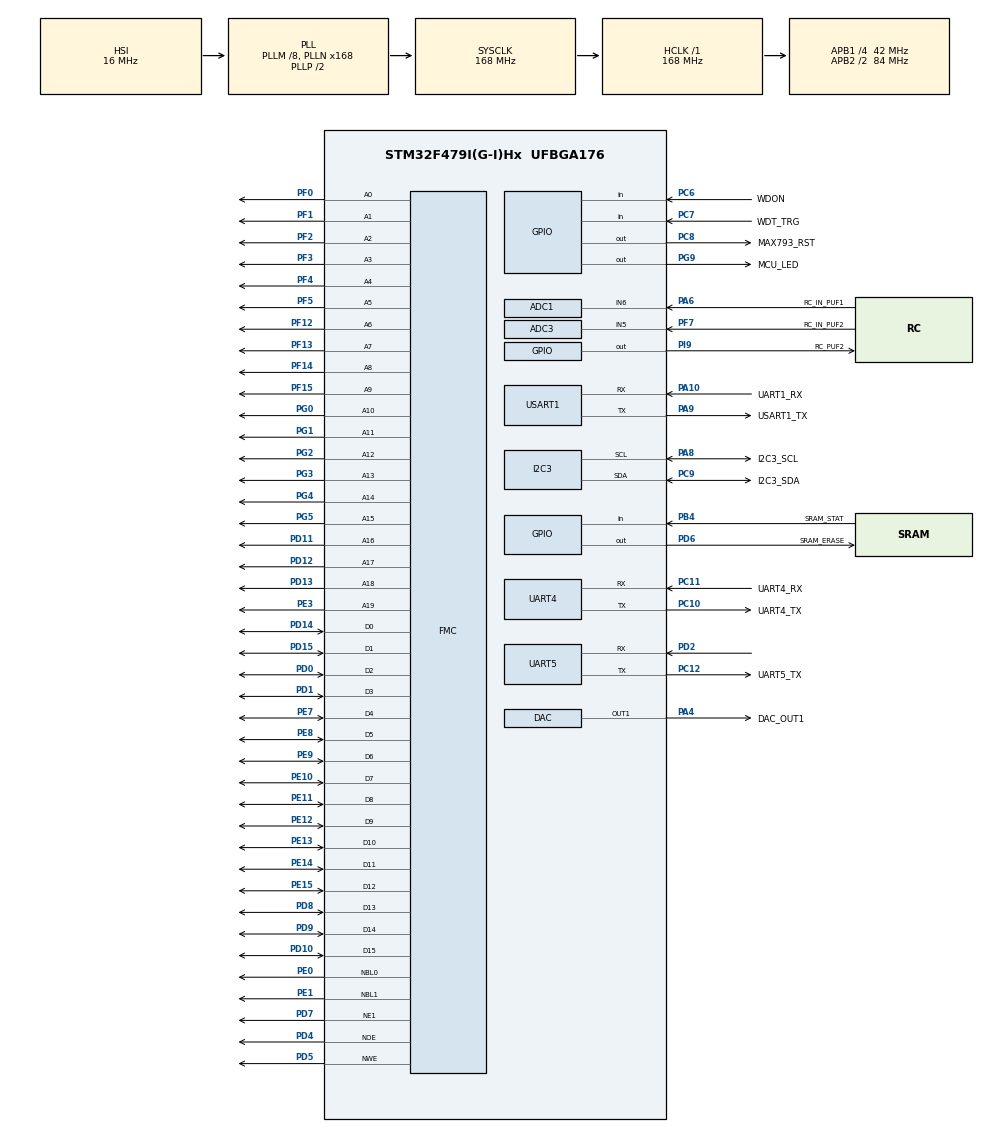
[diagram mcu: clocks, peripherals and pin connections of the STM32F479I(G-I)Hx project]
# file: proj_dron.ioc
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ADC1.Channel-0\#ChannelRegularConversion=ADC_CHANNEL_6
ADC1.Channel-1\#ChannelInjectedConversion=ADC_CHANNEL_6
ADC1.ClockPrescaler=ADC_CLOCK_SYNC_PCLK_DIV4
ADC1.InjNumberOfConversion=1
ADC1.InjectedOffset-1\#ChannelInjectedConversion=0
ADC1.InjectedRank-1\#ChannelInjectedConversion=1
ADC1.NbrOfConversionFlag=1
ADC1.Rank-0\#ChannelRegularConversion=1
ADC1.SamplingTime-0\#ChannelRegularConversion=ADC_SAMPLETIME_3CYCLES
ADC1.SamplingTime-1\#ChannelInjectedConversion=ADC_SAMPLETIME_480CYCLES
ADC1.master=1
ADC3.Channel-0\#ChannelRegularConversion=ADC_CHANNEL_5
ADC3.Channel-1\#ChannelInjectedConversion=ADC_CHANNEL_5
ADC3.ClockPrescaler=ADC_CLOCK_SYNC_PCLK_DIV4
ADC3.InjNumberOfConversion=1
ADC3.InjectedOffset-1\#ChannelInjectedConversion=0
ADC3.InjectedRank-1\#ChannelInjectedConversion=1
ADC3.NbrOfConversionFlag=1
ADC3.Rank-0\#ChannelRegularConversion=1
ADC3.SamplingTime-0\#ChannelRegularConversion=ADC_SAMPLETIME_3CYCLES
ADC3.SamplingTime-1\#ChannelInjectedConversion=ADC_SAMPLETIME_480CYCLES
DAC.DAC_OutputBuffer=DAC_OUTPUTBUFFER_DISABLE
FMC.WriteOperation1=FMC_WRITE_OPERATION_ENABLE
Mcu.Family=STM32F4
Mcu.Name=STM32F479I(G-I)Hx
Mcu.Package=UFBGA176
NVIC.ADC_IRQn=true\:0\:0\:false\:false\:true\:true\:true\:true
NVIC.PriorityGroup=NVIC_PRIORITYGROUP_4
NVIC.UART4_IRQn=true\:0\:0\:false\:false\:true\:true\:true\:true
NVIC.UART5_IRQn=true\:0\:0\:false\:false\:true\:true\:true\:true
NVIC.USART1_IRQn=true\:0\:0\:false\:false\:true\:true\:true\:true
PA10.GPIO_Label=UART1_RX
PA10.Mode=Asynchronous
PA10.Signal=USART1_RX
PA13.Mode=Trace_Asynchronous_SW
PA13.Signal=SYS_JTMS-SWDIO
PA14.Mode=Trace_Asynchronous_SW
PA14.Signal=SYS_JTCK-SWCLK
PA4.GPIO_Label=DAC_OUT1
PA4.Signal=COMP_DAC1_group
PA6.GPIO_Label=RC_IN_PUF1
PA6.Signal=ADCx_IN6
PA8.GPIO_Label=I2C3_SCL
PA8.GPIO_Pu=GPIO_PULLUP
PA8.GPIO_Speed=GPIO_SPEED_FREQ_LOW
PA8.Mode=I2C
PA8.Signal=I2C3_SCL
PA9.GPIO_Label=USART1_TX
PA9.Mode=Asynchronous
PA9.Signal=USART1_TX
PB3.Mode=Trace_Asynchronous_SW
PB3.Signal=SYS_JTDO-SWO
PB4.GPIO_Label=SRAM_STAT
PB4.Signal=GPIO_Input
PC10.GPIO_Label=UART4_TX
PC10.Mode=Asynchronous
PC10.Signal=UART4_TX
PC11.GPIO_Label=UART4_RX
PC11.Mode=Asynchronous
PC11.Signal=UART4_RX
PC12.GPIO_Label=UART5_TX
PC12.Mode=Asynchronous
PC12.Signal=UART5_TX
PC6.GPIO_Label=WDON
PC6.Signal=GPIO_Input
PC7.GPIO_Label=WDT_TRG
PC7.Signal=GPIO_Input
PC8.GPIO_Label=MAX793_RST
PC8.Signal=GPIO_Output
PC9.GPIO_Label=I2C3_SDA
PC9.GPIO_Pu=GPIO_PULLUP
PC9.GPIO_Speed=GPIO_SPEED_FREQ_LOW
PC9.Mode=I2C
PC9.Signal=I2C3_SDA
PD0.Signal=FMC_D2_DA2
PD1.Signal=FMC_D3_DA3
PD10.Signal=FMC_D15_DA15
PD11.Signal=FMC_A16_CLE
PD12.Signal=FMC_A17_ALE
PD13.Signal=FMC_A18
PD14.Signal=FMC_D0_DA0
PD15.Signal=FMC_D1_DA1
PD2.Mode=Asynchronous
PD2.Signal=UART5_RX
PD4.GPIO_PuPd=GPIO_PULLUP
PD4.Signal=FMC_NOE
PD5.GPIO_PuPd=GPIO_PULLUP
PD5.Signal=FMC_NWE
PD6.GPIO_Label=SRAM_ERASE
PD6.GPIO_PuPd=GPIO_PULLUP
PD6.GPIO_Speed=GPIO_SPEED_FREQ_VERY_HIGH
PD6.PinState=GPIO_PIN_SET
PD6.Signal=GPIO_Output
PD7.GPIO_PuPd=GPIO_PULLUP
PD7.Mode=NorPsramChipSelect1_1
PD7.Signal=FMC_NE1
PD8.Signal=FMC_D13_DA13
PD9.Signal=FMC_D14_DA14
PE0.GPIO_PuPd=GPIO_PULLDOWN
PE0.Signal=FMC_NBL0
PE1.GPIO_PuPd=GPIO_PULLUP
PE1.Signal=FMC_NBL1
PE10.Signal=FMC_D7_DA7
PE11.Signal=FMC_D8_DA8
PE12.Signal=FMC_D9_DA9
PE13.Signal=FMC_D10_DA10
PE14.Signal=FMC_D11_DA11
PE15.Signal=FMC_D12_DA12
PE3.Signal=FMC_A19
PE7.Signal=FMC_D4_DA4
PE8.Signal=FMC_D5_DA5
PE9.Signal=FMC_D6_DA6
PF0.Signal=FMC_A0
PF1.Signal=FMC_A1
PF12.Signal=FMC_A6
PF13.Signal=FMC_A7
PF14.Signal=FMC_A8
PF15.Signal=FMC_A9
PF2.Signal=FMC_A2
PF3.Signal=FMC_A3
PF4.Signal=FMC_A4
PF5.Signal=FMC_A5
PF7.GPIO_Label=RC_IN_PUF2
PF7.Mode=IN5
PF7.Signal=ADC3_IN5
PG0.Signal=FMC_A10
PG1.Signal=FMC_A11
PG2.Signal=FMC_A12
PG3.Signal=FMC_A13
PG4.Signal=FMC_A14_BA0
PG5.Signal=FMC_A15_BA1
PG9.GPIO_Label=MCU_LED
PG9.Signal=GPIO_Output
PI9.GPIO_Label=RC_PUF2
PI9.Signal=GPIO_Output
ProjectManager.HeapSize=0x200
ProjectManager.StackSize=0x400
ProjectManager.TargetToolchain=STM32CubeIDE
RCC.AHBFreq_Value=168000000
RCC.APB1CLKDivider=RCC_HCLK_DIV4
RCC.APB1Freq_Value=42000000
RCC.APB1TimFreq_Value=84000000
RCC.APB2CLKDivider=RCC_HCLK_DIV2
RCC.APB2Freq_Value=84000000
RCC.APB2TimFreq_Value=168000000
RCC.CortexFreq_Value=168000000
RCC.HCLKFreq_Value=168000000
RCC.PLLM=8
RCC.PLLN=168
RCC.SYSCLKFreq_VALUE=168000000
RCC.SYSCLKSource=RCC_SYSCLKSOURCE_PLLCLK
RCC.USBFreq_Value=84000000
RCC.VCOOutputFreq_Value=336000000
SH.ADCx_IN6.0=ADC1_IN6,IN6
SH.COMP_DAC1_group.0=DAC_OUT1,DAC_OUT1
SH.FMC_A0.0=FMC_A0,20b-a1
SH.FMC_A1.0=FMC_A1,20b-a1
SH.FMC_A10.0=FMC_A10,20b-a1
SH.FMC_A11.0=FMC_A11,20b-a1
SH.FMC_A12.0=FMC_A12,20b-a1
SH.FMC_A13.0=FMC_A13,20b-a1
SH.FMC_A14_BA0.0=FMC_A14,20b-a1
SH.FMC_A15_BA1.0=FMC_A15,20b-a1
SH.FMC_A16_CLE.0=FMC_A16,20b-a1
SH.FMC_A17_ALE.0=FMC_A17,20b-a1
SH.FMC_A18.0=FMC_A18,20b-a1
SH.FMC_A19.0=FMC_A19,20b-a1
SH.FMC_A2.0=FMC_A2,20b-a1
SH.FMC_A3.0=FMC_A3,20b-a1
SH.FMC_A4.0=FMC_A4,20b-a1
SH.FMC_A5.0=FMC_A5,20b-a1
SH.FMC_A6.0=FMC_A6,20b-a1
SH.FMC_A7.0=FMC_A7,20b-a1
SH.FMC_A8.0=FMC_A8,20b-a1
SH.FMC_A9.0=FMC_A9,20b-a1
SH.FMC_D0_DA0.0=FMC_D0,16b-d1
SH.FMC_D10_DA10.0=FMC_D10,16b-d1
SH.FMC_D11_DA11.0=FMC_D11,16b-d1
SH.FMC_D12_DA12.0=FMC_D12,16b-d1
SH.FMC_D13_DA13.0=FMC_D13,16b-d1
SH.FMC_D14_DA14.0=FMC_D14,16b-d1
SH.FMC_D15_DA15.0=FMC_D15,16b-d1
SH.FMC_D1_DA1.0=FMC_D1,16b-d1
SH.FMC_D2_DA2.0=FMC_D2,16b-d1
SH.FMC_D3_DA3.0=FMC_D3,16b-d1
SH.FMC_D4_DA4.0=FMC_D4,16b-d1
SH.FMC_D5_DA5.0=FMC_D5,16b-d1
SH.FMC_D6_DA6.0=FMC_D6,16b-d1
SH.FMC_D7_DA7.0=FMC_D7,16b-d1
SH.FMC_D8_DA8.0=FMC_D8,16b-d1
SH.FMC_D9_DA9.0=FMC_D9,16b-d1
SH.FMC_NBL0.0=FMC_NBL0,2ByteEnable1
SH.FMC_NBL1.0=FMC_NBL1,2ByteEnable1
SH.FMC_NOE.0=FMC_NOE,Sram1
SH.FMC_NWE.0=FMC_NWE,Sram1
UART4.VirtualMode=Asynchronous
UART5.VirtualMode=Asynchronous
USART1.VirtualMode=VM_ASYNC
board=custom

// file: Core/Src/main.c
/* USER CODE BEGIN Header */
/**
  ******************************************************************************
  * @file           : main.c
  * @brief          : Main program body
  ******************************************************************************
  * @attention
  *
  * Copyright (c) 2024 STMicroelectronics.
  * All rights reserved.
  *
  * This software is licensed under terms that can be found in the LICENSE file
  * in the root directory of this software component.
  * If no LICENSE file comes with this software, it is provided AS-IS.
  *
  ******************************************************************************
  */
/* USER CODE END Header */
#include "main.h"
#include "adc.h"
#include "dac.h"
#include "i2c.h"
#include "usart.h"
#include "gpio.h"
#include "fmc.h"

/* USER CODE BEGIN Includes */
#include "INA219.h"
#include <stdarg.h>
#include <stdio.h>
#include <string.h>
#include <stdlib.h>

/* USER CODE END Includes */

/* USER CODE BEGIN PD */
#define SRAM_DEVICE_ADDR ((uint32_t) 0x60000000)
#define UART_BUF_SIZE 8
#define BUFFER_SIZE 256
#define TAMPER_FORCE 0
/* USER CODE END PD */

/* USER CODE BEGIN PV */
INA219_t ina219;

uint8_t pinstat;
uint16_t buff_read[256];
uint8_t uart_buf1[UART_BUF_SIZE];	//uart1 receive buf
uint8_t uart_buf4[UART_BUF_SIZE];	//uart4 receive buf
uint8_t uart_buf5[UART_BUF_SIZE];	//uart5 receive buf
uint8_t comp_flas;
uint8_t print;
uint8_t pw_input;

Cmd_buf cmd_buf;

char * cmd_read = "read";
char * cmd_write = "write";
char * cmd_write_rand = "write_rand";
char * cmd_cmp = "compare";
char * cmd_write_rand_comp = "write_rand_comp";
char * cmd_cmp_rand = "compare_rand";
char * cmd_print = "print";

char * cmd_sram_help = "sram_help";
char * cmd_help = "help";
char * cmd_exit = "exit";

char * cmd_i2c = "i2c_test";
char * cmd_adc = "adc_test";
char * cmd_gpio = "sram_stat";

char * user_id = "root";
char * user_pw = "root";

uint16_t buff_write[32] = {0,1,2,3,4,5,6,7,8,9,10,11,12,13,14,15};
uint16_t buff_rand_comp[10000];

/* USER CODE END PV */

void SystemClock_Config(void);
/* USER CODE BEGIN PFP */
#if 0
int __io_putchar(uint8_t ch){
	HAL_UART_Transmit(&huart4, &ch, 1, 1000);
    return ch;
}
#endif
void id_pw(void);
/* USER CODE END PFP */

/* USER CODE BEGIN 0 */
uint32_t adc1_value;
uint32_t adc3_value;

void dprintf1(const char* format, ...)
{
	char buf[128] = {0x00, };
	int len = 0;

	va_list ap;

	va_start(ap, format);
	len = vsnprintf(buf, sizeof(buf), format, ap);
	va_end(ap);
	HAL_UART_Transmit(&huart1, (uint8_t*)buf, len, 1000);
}

void dprintf4(const char* format, ...)
{
	char buf[128] = {0x00, };
	int len = 0;

	va_list ap;

	va_start(ap, format);
	len = vsnprintf(buf, sizeof(buf), format, ap);
	va_end(ap);
	HAL_UART_Transmit(&huart4, (uint8_t*)buf, len, 1000);
}

void dprintf5(const char* format, ...)
{
	char buf[128] = {0x00, };
	int len = 0;

	va_list ap;

	va_start(ap, format);
	len = vsnprintf(buf, sizeof(buf), format, ap);
	va_end(ap);
	HAL_UART_Transmit(&huart5, (uint8_t*)buf, len, 1000);
}

void INA219_proc(void)
{
	uint16_t vbus, vshunt, current;

	vbus = INA219_ReadBusVoltage(&ina219);
	vshunt = INA219_ReadShuntVolage(&ina219);
	current = INA219_ReadCurrent(&ina219);
	dprintf4("vbus:%d\r\nvshunt:%d\r\ncurrent:%d\r\n \r\n",vbus,vshunt,current);
}

void ADC_proc(void)
{
    //HAL_DAC_SetValue(&hdac, DAC_CHANNEL_1, DAC_ALIGN_12B_R,4095);
    //HAL_DAC_Start(&hdac, DAC_CHANNEL_1);

    //HAL_GPIO_WritePin(GPIOI, GPIO_PIN_9, 0);

	HAL_ADC_Start(&hadc1);
	HAL_ADC_PollForConversion(&hadc1, HAL_MAX_DELAY);
	adc1_value = HAL_ADC_GetValue(&hadc1);
	HAL_ADC_Stop(&hadc1);

	HAL_ADC_Start(&hadc3);
	HAL_ADC_PollForConversion(&hadc3, HAL_MAX_DELAY);
	adc3_value = HAL_ADC_GetValue(&hadc3);
	HAL_ADC_Stop(&hadc3);

	dprintf4("ADC1: %ld\r\nAD3: %ld\r\n",adc1_value,adc3_value);
	HAL_Delay(100);
}

void sd_write(uint32_t start, uint32_t end)
{
	uint32_t i;
	uint16_t data = 0;
	uint32_t buf_size = end-start;

	dprintf4("\r\nwriting start");
	if(print == 1) dprintf4("\r\n");

	for(i=0;i<buf_size;i++) {
		buff_write[0] = data;
		HAL_SRAM_Write_16b(&hsram1, (uint32_t *) SRAM_DEVICE_ADDR+start+i, buff_write, 1);
		data++;
		if(data > 65534) data = 0;
		if(print == 1) dprintf4("%x ", buff_write[0]);
	} if(print == 1) dprintf4("\r\n");
}

void sd_write_rand_compare(uint32_t start, uint32_t end)
{
	uint32_t i;
	uint16_t data = 0;
	uint32_t buf_size = end-start;

	dprintf4("\r\nwriting start");
	if(print == 1) dprintf4("\r\n");

	for(i=0;i<buf_size;i++) {
		buff_write[0] = rand();
		HAL_SRAM_Write_16b(&hsram1, (uint32_t *) SRAM_DEVICE_ADDR+start+i, buff_write, 1);
		buff_rand_comp[start+i] = buff_write[0];
		data++;
		if(data > 65534) data = 0;

		if(print == 1) dprintf4("%x ", buff_write[0]);
	} if(print == 1) dprintf4("\r\n");
}

void sd_write_rand(uint32_t start, uint32_t end)
{
	uint32_t i;
	uint32_t buf_size = end-start;

	dprintf4("\r\nrandom writing start");
	if(print == 1) dprintf4("\r\n");

	for(i=0;i<buf_size;i++) {
		buff_write[0] = rand();
		HAL_SRAM_Write_16b(&hsram1, (uint32_t *) SRAM_DEVICE_ADDR+start+i, buff_write, 1);

		if(print == 1) dprintf4("%x ", buff_write[0]);
	} if(print == 1) dprintf4("\r\n");
}

void sd_read(uint32_t start, uint32_t end)
{
	uint32_t i;
	uint32_t buf_size = end-start;

	dprintf4("\r\nread data : \r\n");

	for(i=0; i<(buf_size); i++) {
		HAL_SRAM_Read_16b(&hsram1, (uint32_t *) SRAM_DEVICE_ADDR+start+i, buff_read, 1);

		dprintf4("%x ", buff_read[0]);
	} dprintf4("\r\n");
}
void sd_comp_rand(uint32_t start, uint32_t end)
{
	uint32_t i;
	uint16_t data = start;
	uint32_t same = 0;
	uint32_t diff = 0;
	float result;
	uint32_t buf_size = end-start;
	//uint8_t back[3] = {0x08, 0x20, 0x08};

	dprintf4("\r\ncomparing start");

	for(i=0; i<buf_size; i++) {
		HAL_SRAM_Read_16b(&hsram1, (uint32_t *) SRAM_DEVICE_ADDR+start+i, buff_read, 1);

		if(buff_read[0] == buff_rand_comp[start+i]) {
			same++;
		} else {
			diff++;
		}
		data++;
		if(data > 65534) {
			data = 0;
		}
	} dprintf4("\r\n");

	result = ((float)diff/(float)i)*100;
	dprintf4("compare result : same = %d, diff = %d\r\n", same, diff);
	dprintf4("Erasure rate : %0.2f%%\r\n\n", result);
}

void sd_comp(uint32_t start, uint32_t end)
{
	uint32_t i;
	uint16_t data = start;
	uint32_t same = 0;
	uint32_t diff = 0;
	float result;
	uint32_t buf_size = end-start;
	//uint8_t back[3] = {0x08, 0x20, 0x08};

	dprintf4("\r\ncomparing start");

	for(i=0; i<buf_size; i++) {
		HAL_SRAM_Read_16b(&hsram1, (uint32_t *) SRAM_DEVICE_ADDR+start+i, buff_read, 1);
		if(buff_read[0] == data) {
			same++;
		} else {
			diff++;
		}
		data++;
		if(data > 65534) {
			data = 0;
		}
		/*for(int j=0;j<2000;j++) end++;
		if((data%200000) == 0) {
			dprintf4(".");
		}*/
	} dprintf4("\r\n");

	result = ((float)diff/(float)i)*100;
	dprintf4("compare result : same = %d, diff = %d\r\n", same, diff);
	dprintf4("Erasure rate : %0.2f%%\r\n\n", result);
}

void uart4_cmd(void)
{
	if(comp_flas == 1) {
		if(cmd_buf.count > 0) {
			char buf[32];
			//int num[32];
			int num_count = 0;
			char *token;
			int i = 0;

			memset(buf, 0, 32);
			memcpy(buf, cmd_buf.cmd, cmd_buf.count);

			token = strtok(buf, " ");
			token = strtok(NULL, " ");

			while(token !=NULL) {
				cmd_buf.number[i] = atoi(token);

				token = strtok(NULL, " ");
				i++;
				num_count++;
			}

			if(!strcmp(buf, cmd_read)) {
				if(num_count == 2 && (cmd_buf.number[1]-cmd_buf.number[0]) <= 1000) {
					sd_read(cmd_buf.number[0], cmd_buf.number[1]);

					dprintf4("\r\nread SDcard from %d to %d\r\n\n", cmd_buf.number[0], cmd_buf.number[1]);
				} else {
					dprintf4("Enter sram_help to see commands\r\n");
				}

			} else if (!strcmp(buf, cmd_write)) {
				if(num_count == 2 && cmd_buf.number[1] <= 100000) {
					sd_write(cmd_buf.number[0], cmd_buf.number[1]);

					dprintf4("\r\nwrite SDcard from %d to %d\r\n\n", cmd_buf.number[0], cmd_buf.number[1]);
				} else {
					dprintf4("Enter sram_help to see commands\r\n");
				}

			} else if (!strcmp(buf, cmd_write_rand)) {
				if(num_count == 2  && cmd_buf.number[1] <= 100000) {
					sd_write_rand(cmd_buf.number[0], cmd_buf.number[1]);

					dprintf4("\r\nwrite SDcard from %d to %d\r\n\n", cmd_buf.number[0], cmd_buf.number[1]);
				} else {
					dprintf4("Enter sram_help to see commands\r\n");
				}

			} else if (!strcmp(buf, cmd_cmp)) {
				if(num_count == 2  && cmd_buf.number[1] <= 100000) {
					sd_comp(cmd_buf.number[0], cmd_buf.number[1]);

				} else {
					dprintf4("Enter sram_help to see commands\r\n");
				}

			} else if (!strcmp(buf, cmd_print)) {
				if(num_count == 1) {
					print = cmd_buf.number[0];
				} else {
					dprintf4("Enter sram_help to see commands\r\n");
				}

			} else if (!strcmp(buf, cmd_write_rand_comp)) {
				if(num_count == 2  && cmd_buf.number[1] <= 10000) {
					sd_write_rand_compare(cmd_buf.number[0], cmd_buf.number[1]);

					dprintf4("\r\nwrite SDcard from %d to %d\r\n\n", cmd_buf.number[0], cmd_buf.number[1]);
				} else {
					dprintf4("Enter sram_help to see commands\r\n");
				}

			} else if (!strcmp(buf, cmd_cmp_rand)) {
				if(num_count == 2  && cmd_buf.number[1] <= 10000) {
					sd_comp_rand(cmd_buf.number[0], cmd_buf.number[1]);

				} else {
					dprintf4("Enter sram_help to see commands\r\n");
				}

			} else if (!strcmp(buf, cmd_i2c)) {
				dprintf4("Start_I2C_TEST!\r\n\n");
				INA219_proc();

			} else if (!strcmp(buf, cmd_adc)) {
				dprintf4("Start_ADC_TEST!\r\n\n");
				ADC_proc();

			} else if (!strcmp(buf, cmd_gpio)) {
				dprintf4("SRAM_STAT_TEST!\r\n\n");
				if(HAL_GPIO_ReadPin(GPIOB, GPIO_PIN_4))
					 dprintf4("SRAM Voltage is OK!\r\n\n");
				else dprintf4("SRAM Voltage is NOK!\r\n\n");

			}  else if (!strcmp(buf, cmd_exit)) {
				dprintf4("LOGOUT!\r\n\n");
				HAL_Delay(500);
				id_pw();

			} else if (!strcmp(buf, cmd_help)) {
				dprintf4("\r\n**********************************************************\r\n");
				dprintf4("\r*                          HELP                          *\r\n");
				dprintf4("\r**********************************************************\r\n\n");
				dprintf4(" sram_help \t\t To see sram command\r\n");
				dprintf4(" i2c_test \t\t To test INA219 \r\n");
				dprintf4(" adc_test \t\t To test PUF1/PUF2 \r\n");
				dprintf4(" exit \r\n");
				dprintf4("\r\n");
			}  else if (!strcmp(buf, cmd_sram_help)) {
				dprintf4("\r\n**********************************************************\r\n");
				dprintf4("\r*                        SRAM HELP                        *\r\n");
				dprintf4("\r**********************************************************\r\n\n");
				dprintf4(" read \t\t [end addreess]-[start address] < 1000 \r\n");
				dprintf4(" write \t\t [start address] [end addreess] 0~100000 \r\n");
				dprintf4(" write_rand \t [start address] [end addreess] 0~100000 \r\n");
				dprintf4(" compare \t [start address] [end addreess] 0~100000 \r\n");
				dprintf4(" write_rand_comp [start address] [end addreess] 0~10000 \r\n");
				dprintf4(" compare_rand \t [start address] [end addreess] 0~10000 \r\n");
				dprintf4(" print \t\t [1 or 0]\r\n");
				dprintf4("\r\n");
			} else {
				dprintf4("Enter help to see commands\r\n");
			}

			comp_flas=0;
			dprintf4("Fisys~ $ ");
		} else {
			dprintf4("Fisys~ $ ");
			comp_flas=0;
		}
	}
}

void id_pw(void)
{
	char id_buf[32];
	char pw_buf[32];
	int auth = 1;
	int count = 0;

	comp_flas = 0;

	while(auth) {
		memset(id_buf, 0, 32);
		memset(pw_buf, 0, 32);
		dprintf4("ID : ");
		while(auth) {
			if(comp_flas == 1) {
				if(cmd_buf.count == 0) {
					dprintf4("ID : ");
					comp_flas=0;
				} else if(cmd_buf.count > 0) {
					memcpy(id_buf, cmd_buf.cmd, cmd_buf.count);
					comp_flas=0;
					auth=0;
				}
			}
		} auth=1;

		pw_input = 1;

		dprintf4("PW : ");
		while(auth) {
			if(comp_flas == 1) {
				if(cmd_buf.count == 0) {
					dprintf4("PW : ");
					comp_flas=0;
				} else if(cmd_buf.count > 0) {
					memcpy(pw_buf, cmd_buf.cmd, cmd_buf.count);
					comp_flas=0;
					auth=0;
				}
			}
		} auth=1;

		pw_input = 0;

		if (!strcmp(id_buf, user_id) && !strcmp(pw_buf, user_pw)) {
			auth = 0;
			dprintf4("\r\n\nWelcome!\r\n\n");
			HAL_Delay(500);

		} else {
			if(count > 2) {
				dprintf4("Too many tries...\r\n");
				dprintf4("Device locked!\r\n");
				HAL_UART_DeInit(&huart4);

				while(1) {
					HAL_Delay(1000);
				}
			} else {
				dprintf4("Wrong ID or PASSWORD. Please check again!\r\n\n");
				count++;
			}

		}
	}
}
/* USER CODE END 0 */

int main(void)
{

  /* MCU Configuration--------------------------------------------------------*/

  /* Reset of all peripherals, Initializes the Flash interface and the Systick. */
  HAL_Init();

  /* Configure the system clock */
  SystemClock_Config();

  /* Initialize all configured peripherals */
  MX_GPIO_Init();
  MX_ADC1_Init();
  MX_FMC_Init();
  MX_UART4_Init();
  MX_UART5_Init();
  MX_USART1_UART_Init();
  MX_ADC3_Init();
  MX_DAC_Init();
  MX_I2C3_Init();
  /* USER CODE BEGIN 2 */
  uint8_t buffer1[256];
  uint8_t buffer5[256];
  int count1 = 10;
//  int count4 = 0;
  int count5 = 20;

  HAL_GPIO_WritePin(GPIOD, GPIO_PIN_6, GPIO_PIN_SET);	//SRAM ERASE PD6 should be set HIGH

  if(HAL_GPIO_ReadPin(GPIOB, GPIO_PIN_4))
  	   dprintf4("SRAM Voltage is OK!\r\n");
  else dprintf4("SRAM Voltage is NOK!\r\n");

  while(!INA219_Init(&ina219, &hi2c3, INA219_ADDRESS))
  {

  }

  dprintf4("\r\n\n===DSM-ST START!===\n\n\r");

  /*========== UART1 TEST ===========*/
  sprintf((char *)buffer1, "Test UART1_Tx! %d\r\n", count1);
  dprintf1("%s \r\n", buffer1);
  //  HAL_UART_Transmit(&huart1, buffer1, strlen((char *)buffer1), 100);
  HAL_Delay(100);

  /*========== UART5 TEST ===========*/
  sprintf((char *)buffer5, "Test UART5 Tx! %d\r\n", count5);
  dprintf5("%s \r\n", buffer5);
//  HAL_UART_Transmit(&huart5, buffer5, strlen((char *)buffer5), 100);
  HAL_Delay(100);

  HAL_UART_Receive_IT(&huart1, uart_buf1, 1);
  HAL_UART_Receive_IT(&huart4, uart_buf4, 1);
  HAL_UART_Receive_IT(&huart5, uart_buf5, 1);

  id_pw();
  dprintf4("Fisys~ $ ");

  /* USER CODE END 2 */

  /* Infinite loop */
  while (1)
  {

    /* USER CODE BEGIN 3 */
#if 0
	  /*========== UART4 TEST ===========*/
	  printf("Hello Fisys %d\r\n", count4);
	  count4++;
	  if(count4 == 256)	count4 = 0;

  	  HAL_Delay(100);

	  /*========== UART1 TEST ===========*/
  	  sprintf((char *)buffer1, "Test UART1_Loop! %d\r\n", ++count1);
	  HAL_UART_Transmit(&huart1, buffer1, strlen((char *)buffer1), 100);
	  if(count1 == 256)	count1 = 0;
	  HAL_Delay(100);

	  /*========== UART5 TEST ===========*/
	  sprintf((char *)buffer5, "Test UART5 Loop! %d\r\n", ++count5);
	  HAL_UART_Transmit(&huart5, buffer5, strlen((char *)buffer5), 100);
	  if(count5 == 256)	count5 = 0;
	  HAL_Delay(100);

	  /*===== ADC1/ADC3 TEST ===========*/
	  HAL_DAC_SetValue(&hdac, DAC_CHANNEL_1, DAC_ALIGN_12B_R,4095);
	  HAL_DAC_Start(&hdac, DAC_CHANNEL_1);

	  HAL_GPIO_WritePin(GPIOI, GPIO_PIN_9, 0);

	  HAL_ADC_Start(&hadc1);
	  HAL_ADC_PollForConversion(&hadc1, HAL_MAX_DELAY);
	  adc1_value = HAL_ADC_GetValue(&hadc1);
	  HAL_ADC_Stop(&hadc1);

	  HAL_ADC_Start(&hadc3);
	  HAL_ADC_PollForConversion(&hadc3, HAL_MAX_DELAY);
	  adc3_value = HAL_ADC_GetValue(&hadc3);
	  HAL_ADC_Stop(&hadc3);

	  printf("ADC1: %ld\r\nAD3: %ld\r\n",adc1_value,adc3_value);
	  HAL_Delay(1000);

	  /*========== I2C(INA219) VCC/CURENT CAL TEST ===========*/
	  INA219_proc();
	  HAL_Delay(1000);
#endif
	  uart4_cmd();	//cmd input parsing
	  HAL_Delay(1);

  }
  /* USER CODE END 3 */
}

void SystemClock_Config(void)
{
  RCC_OscInitTypeDef RCC_OscInitStruct = {0};
  RCC_ClkInitTypeDef RCC_ClkInitStruct = {0};

  /** Configure the main internal regulator output voltage
  */
  __HAL_RCC_PWR_CLK_ENABLE();
  __HAL_PWR_VOLTAGESCALING_CONFIG(PWR_REGULATOR_VOLTAGE_SCALE1);

  /** Initializes the RCC Oscillators according to the specified parameters
  * in the RCC_OscInitTypeDef structure.
  */
  RCC_OscInitStruct.OscillatorType = RCC_OSCILLATORTYPE_HSI;
  RCC_OscInitStruct.HSIState = RCC_HSI_ON;
  RCC_OscInitStruct.HSICalibrationValue = RCC_HSICALIBRATION_DEFAULT;
  RCC_OscInitStruct.PLL.PLLState = RCC_PLL_ON;
  RCC_OscInitStruct.PLL.PLLSource = RCC_PLLSOURCE_HSI;
  RCC_OscInitStruct.PLL.PLLM = 8;
  RCC_OscInitStruct.PLL.PLLN = 168;
  RCC_OscInitStruct.PLL.PLLP = RCC_PLLP_DIV2;
  RCC_OscInitStruct.PLL.PLLQ = 4;
  RCC_OscInitStruct.PLL.PLLR = 2;
  if (HAL_RCC_OscConfig(&RCC_OscInitStruct) != HAL_OK)
  {
    Error_Handler();
  }

  /** Initializes the CPU, AHB and APB buses clocks
  */
  RCC_ClkInitStruct.ClockType = RCC_CLOCKTYPE_HCLK|RCC_CLOCKTYPE_SYSCLK
                              |RCC_CLOCKTYPE_PCLK1|RCC_CLOCKTYPE_PCLK2;
  RCC_ClkInitStruct.SYSCLKSource = RCC_SYSCLKSOURCE_PLLCLK;
  RCC_ClkInitStruct.AHBCLKDivider = RCC_SYSCLK_DIV1;
  RCC_ClkInitStruct.APB1CLKDivider = RCC_HCLK_DIV4;
  RCC_ClkInitStruct.APB2CLKDivider = RCC_HCLK_DIV2;

  if (HAL_RCC_ClockConfig(&RCC_ClkInitStruct, FLASH_LATENCY_5) != HAL_OK)
  {
    Error_Handler();
  }
}

void Error_Handler(void)
{
  __disable_irq();
  while (1)
  {
  }
}
